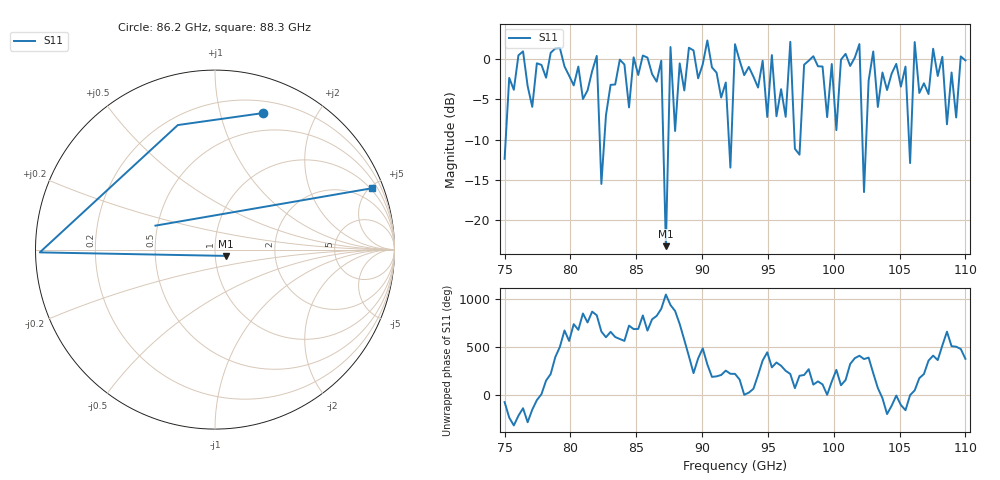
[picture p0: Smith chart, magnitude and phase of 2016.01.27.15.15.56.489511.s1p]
!Created with skrf (http://scikit-rf.org).
# GHz S RI R 50.0
!freq ReS11 ImS11
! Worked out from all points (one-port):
!   101 points, 75 GHz to 110 GHz, reference 50 ohm
!   lowest |S11| = -23.2 dB at 87.25 GHz (marker M1), VSWR 1.15, Z = 56.2 - j3.96 ohm
!   |S11| at or under -10 dB: start of sweep to 75.08316 GHz; 82.22881 GHz to 82.57544 GHz (346.6 MHz wide, 0.421 % of centre); 97.02005 GHz to 97.45858 GHz (438.5 MHz wide, 0.451 % of centre) (the widest 3 of 7)
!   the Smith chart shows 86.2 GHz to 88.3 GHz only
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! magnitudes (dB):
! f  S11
! 75 GHz  -12.4
! 76.05 GHz  0.5
! 79.55 GHz  -0.9
! 82 GHz  0.4
! 82.35 GHz  -15.5
! 83.75 GHz  -0.1
! 86.9 GHz  -0.2
! 87.25 GHz  -23.2
! 87.6 GHz  1.5
! 87.95 GHz  -8.9
! 88.3 GHz  -0.5
! 90.4 GHz  2.3
! 92.15 GHz  -13.5
! 92.5 GHz  1.8
! 96.35 GHz  -7.2
! 96.7 GHz  2.1
! 97.05 GHz  -11.1
! 97.75 GHz  -0.7
! 100.2 GHz  -8.8
! 101.2 GHz  -0.9
! 102 GHz  1.9
! 102.3 GHz  -16.5
! 103 GHz  0.9
! 105.5 GHz  -0.9
! 105.8 GHz  -12.9
! 106.2 GHz  2.1
! 108.6 GHz  -8.1
! 110 GHz  -0.2
